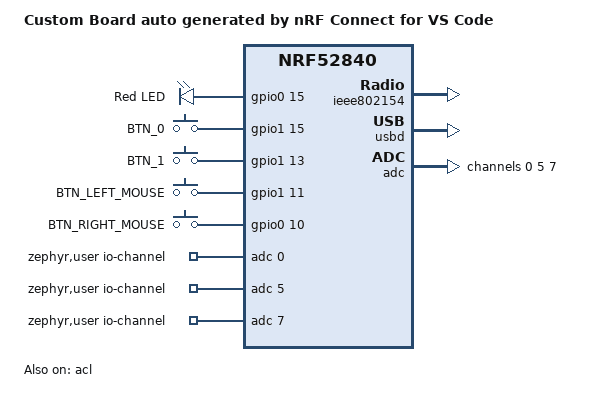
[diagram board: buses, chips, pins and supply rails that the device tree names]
/dts-v1/;
#include <nordic/nrf52840_qiaa.dtsi>
#include "bt_mouse_demo-pinctrl.dtsi"

/ {
	model = "Custom Board auto generated by nRF Connect for VS Code";
	compatible = "nrf52840,custom-board-name";

	chosen {
		zephyr,console = &cdc_acm_uart0;
		zephyr,shell-uart = &cdc_acm_uart0;
		zephyr,uart-mcumgr = &cdc_acm_uart0;
		zephyr,bt-mon-uart = &cdc_acm_uart0;
		zephyr,bt-c2h-uart = &cdc_acm_uart0;
		zephyr,sram = &sram0;
		zephyr,flash = &flash0;
		zephyr,code-partition = &code_partition;
		zephyr,ieee802154 = &ieee802154;
	};

	leds {
		compatible = "gpio-leds";
		led0: led_0 {
			gpios = <&gpio0 15 GPIO_ACTIVE_HIGH>;
			label = "Red LED";
		};
	};

	/* These aliases are provided for compatibility with samples */
	aliases {
		led0 = &led0;

		btn1 = &btn1;
		btn2 = &btn2;
		btn3 = &btn3;
		btn4 = &btn4;
	};

	buttons {
		compatible = "gpio-keys";
		btn1: btn_1 {
			gpios = <&gpio1 15 0>;
			label = "BTN_0";
		};

		btn2: btn_2 {
			gpios = <&gpio1 13 0>;
			label = "BTN_1";
		};

		btn3: btn_3 {
			gpios = <&gpio1 11 0>;
			label = "BTN_LEFT_MOUSE";
		};

		btn4: btn_4 {
			gpios = <&gpio0 10 0>;
			label = "BTN_RIGHT_MOUSE";
		};
	};

	zephyr,user {
		io-channels = <&adc 0>, <&adc 5>, <&adc 7>;
	};
};

&flash0 {
	partitions {
		compatible = "fixed-partitions";
		#address-cells = <1>;
		#size-cells = <1>;
		code_partition: partition@26000 {
			label = "Application";
			reg = <0x26000 0xb4000>;
		};

		/*
		 * The flash starting at 0x000ed000 and ending at
		 * 0x000f4000 is reserved for use by the application.
		 */
		storage_partition: partition@ed000 {
			label = "storage";
			reg = <0x0000ed000 DT_SIZE_K(28)>;
		};

		boot_partition: partition@f4000 {
			label = "UF2";
			reg = <0x000f4000 DT_SIZE_K(48)>;
			read-only;
		};
	};
};

&gpiote {
	status = "okay";
};

&gpio0 {
	status = "okay";
};

&gpio1 {
	status = "okay";
};

&ieee802154 {
	status = "okay";
};

zephyr_udc0: &usbd {
	compatible = "nordic,nrf-usbd";
	status = "okay";

	cdc_acm_uart0: cdc_acm_uart0 {
		compatible = "zephyr,cdc-acm-uart";
	};
};

&acl {
	status = "okay";
};

&systick {
	status = "disabled";
};

&adc {
	status = "okay";

	#address-cells = <1>;
	#size-cells = <0>;

	channel@0 {
		reg = <0>;
		zephyr,gain = "ADC_GAIN_1_5";
		zephyr,reference = "ADC_REF_INTERNAL";
		zephyr,acquisition-time = <ADC_ACQ_TIME_DEFAULT>;
		zephyr,input-positive = <NRF_SAADC_AIN0>; /* P0.02 */
		zephyr,resolution = <12>;
		// zephyr,differential;
	};

	channel@5 {
		reg = <5>;
		zephyr,gain = "ADC_GAIN_1_5";
		zephyr,reference = "ADC_REF_INTERNAL";
		zephyr,acquisition-time = <ADC_ACQ_TIME_DEFAULT>;
		zephyr,input-positive = <NRF_SAADC_AIN5>; /* P0.29 */
		zephyr,resolution = <12>;
		// zephyr,differential;
	};

	channel@7 {
		reg = <7>;
		zephyr,gain = "ADC_GAIN_1_5";
		zephyr,reference = "ADC_REF_INTERNAL";
		zephyr,acquisition-time = <ADC_ACQ_TIME_DEFAULT>;
		zephyr,input-positive = <NRF_SAADC_AIN7>; /* P0.31 */
		zephyr,resolution = <12>;
		// zephyr,differential;
	};
};
